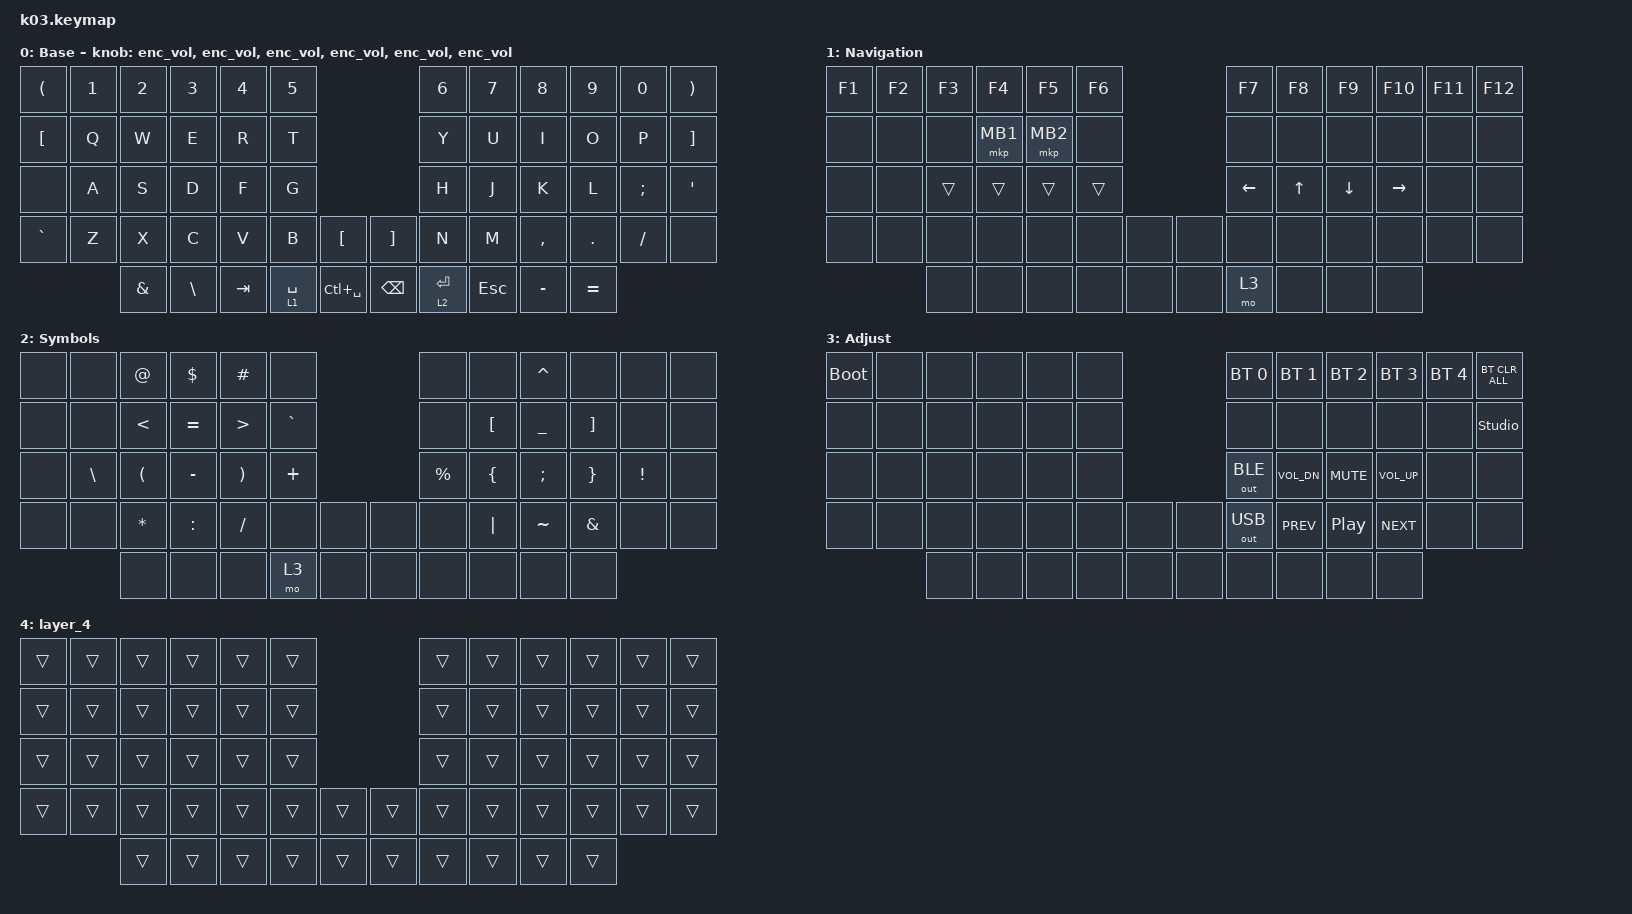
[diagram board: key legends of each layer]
#include "keys_ru.h"
#include <behaviors.dtsi>
#include <dt-bindings/zmk/bt.h>
#include <dt-bindings/zmk/keys.h>
#include <dt-bindings/zmk/outputs.h>
#include <dt-bindings/zmk/pointing.h>

/ {
    behaviors {
        enc_vol: enc_vol {
            compatible = "zmk,behavior-sensor-rotate";
            label = "ENC_VOL";
            #sensor-binding-cells = <0>;
            bindings = <&kp C_VOL_UP>, <&kp C_VOL_DN>;
        };
    };

    combos { compatible = "zmk,combos"; };

    keymap {
        compatible = "zmk,keymap";

        base {
            bindings = <
&kp LEFT_PARENTHESIS  &kp N1  &kp N2         &kp N3         &kp N4   &kp N5                                       &kp N6       &kp N7   &kp N8     &kp N9     &kp N0    &kp RIGHT_PARENTHESIS
&kp LEFT_BRACKET      &kp Q   &kp W          &kp E          &kp R    &kp T                                        &kp Y        &kp U    &kp I      &kp O      &kp P     &kp RIGHT_BRACKET
&none                 &kp A   &kp S          &kp D          &kp F    &kp G                                        &kp H        &kp J    &kp K      &kp L      &kp SEMI  &kp SQT
&kp GRAVE             &kp Z   &kp X          &kp C          &kp V    &kp B        &kp LBKT         &kp RBKT       &kp N        &kp M    &kp COMMA  &kp DOT    &kp FSLH  &none
                              &kp AMPERSAND  &kp BACKSLASH  &kp TAB  &lt 1 SPACE  &kp LC(SPACE)    &kp BACKSPACE  &lt 2 ENTER  &kp ESC  &kp MINUS  &kp EQUAL
            >;

            display-name = "Base";
            sensor-bindings =
                <&enc_vol>,
                <&enc_vol>,
                <&enc_vol>,
                <&enc_vol>,
                <&enc_vol>,
                <&enc_vol>;
        };

        nav {
            bindings = <
&kp F1  &kp F2  &kp F3  &kp F4    &kp F5    &kp F6                  &kp F7          &kp F8        &kp F9          &kp F10          &kp F11  &kp F12
&none   &none   &none   &mkp MB1  &mkp MB2  &none                   &none           &none         &none           &none            &none    &none
&none   &none   &trans  &trans    &trans    &trans                  &kp LEFT_ARROW  &kp UP_ARROW  &kp DOWN_ARROW  &kp RIGHT_ARROW  &none    &none
&none   &none   &none   &none     &none     &none   &none    &none  &none           &none         &none           &none            &none    &none
                &none   &none     &none     &none   &none    &none  &mo 3           &none         &none           &none
            >;

            display-name = "Navigation";
        };

        sym {
            bindings = <
&none  &none     &kp AT    &kp DLLR   &kp HASH  &none                      &none      &none     &kp CARET  &none     &none     &none
&none  &none     &kp LT    &kp EQUAL  &kp GT    &kp GRAVE                  &none      &kp LBKT  &kp UNDER  &kp RBKT  &none     &none
&none  &kp BSLH  &kp LPAR  &kp MINUS  &kp RPAR  &kp PLUS                   &kp PRCNT  &kp LBRC  &kp SEMI   &kp RBRC  &kp EXCL  &none
&none  &none     &kp STAR  &kp COLON  &kp FSLH  &none      &none    &none  &none      &kp PIPE  &kp TILDE  &kp AMPS  &none     &none
                 &none     &none      &none     &mo 3      &none    &none  &none      &none     &none      &none
            >;

            display-name = "Symbols";
        };

        adj {
            bindings = <
&bootloader  &none  &none  &none  &none  &none                  &bt BT_SEL 0  &bt BT_SEL 1  &bt BT_SEL 2      &bt BT_SEL 3  &bt BT_SEL 4  &bt BT_CLR_ALL
&none        &none  &none  &none  &none  &none                  &none         &none         &none             &none         &none         &studio_unlock
&none        &none  &none  &none  &none  &none                  &out OUT_BLE  &kp C_VOL_DN  &kp K_MUTE        &kp C_VOL_UP  &none         &none
&none        &none  &none  &none  &none  &none  &none    &none  &out OUT_USB  &kp C_PREV    &kp C_PLAY_PAUSE  &kp C_NEXT    &none         &none
                    &none  &none  &none  &none  &none    &none  &none         &none         &none             &none
            >;

            display-name = "Adjust";
        };

        layer_4 {
            bindings = <
&trans  &trans  &trans  &trans  &trans  &trans                    &trans  &trans  &trans  &trans  &trans  &trans
&trans  &trans  &trans  &trans  &trans  &trans                    &trans  &trans  &trans  &trans  &trans  &trans
&trans  &trans  &trans  &trans  &trans  &trans                    &trans  &trans  &trans  &trans  &trans  &trans
&trans  &trans  &trans  &trans  &trans  &trans  &trans    &trans  &trans  &trans  &trans  &trans  &trans  &trans
                &trans  &trans  &trans  &trans  &trans    &trans  &trans  &trans  &trans  &trans
            >;
        };
    };
};
